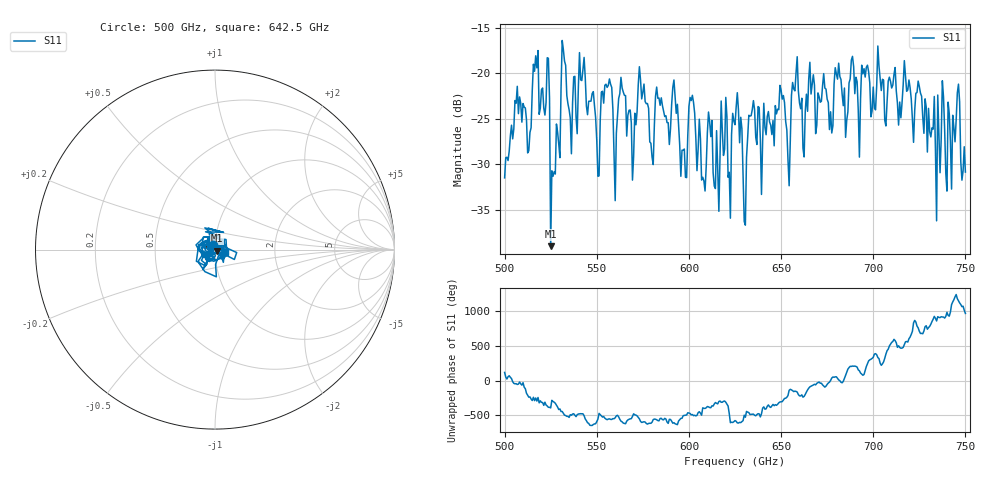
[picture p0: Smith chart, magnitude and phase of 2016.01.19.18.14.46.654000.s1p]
!Created with skrf (http://scikit-rf.org).
# GHz S RI R 50.0
!freq ReS11 ImS11
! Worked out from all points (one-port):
!   401 points, 500 GHz to 750 GHz, reference 50 ohm
!   lowest |S11| = -39.0 dB at 525 GHz (marker M1), VSWR 1.02, Z = 50.9 - j0.662 ohm
!   |S11| at or under -10 dB: start of sweep to end of sweep
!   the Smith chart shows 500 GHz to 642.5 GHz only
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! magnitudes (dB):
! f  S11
! 500 GHz  -31.5
! 506.9 GHz  -21.4
! 513.1 GHz  -28.5
! 516.9 GHz  -18.1
! 523.1 GHz  -18.3
! 525 GHz  -39.0
! 526.2 GHz  -31.3
! 531.2 GHz  -16.4
! 535.6 GHz  -24.9
! 541.9 GHz  -20.8
! 550.6 GHz  -31.3
! 562.5 GHz  -22.2
! 593.8 GHz  -23.4
! 597.5 GHz  -28.3
! 601.9 GHz  -22.4
! 608.1 GHz  -31.8
! 611.2 GHz  -25.4
! 625 GHz  -25.7
! 630.6 GHz  -36.7
! 633.8 GHz  -24.7
! 650.6 GHz  -22.8
! 653.8 GHz  -29.5
! 656.2 GHz  -21.0
! 687.5 GHz  -20.6
! 718.8 GHz  -21.8
! 735 GHz  -22.4
! 745.6 GHz  -22.1
! 750 GHz  -30.9
